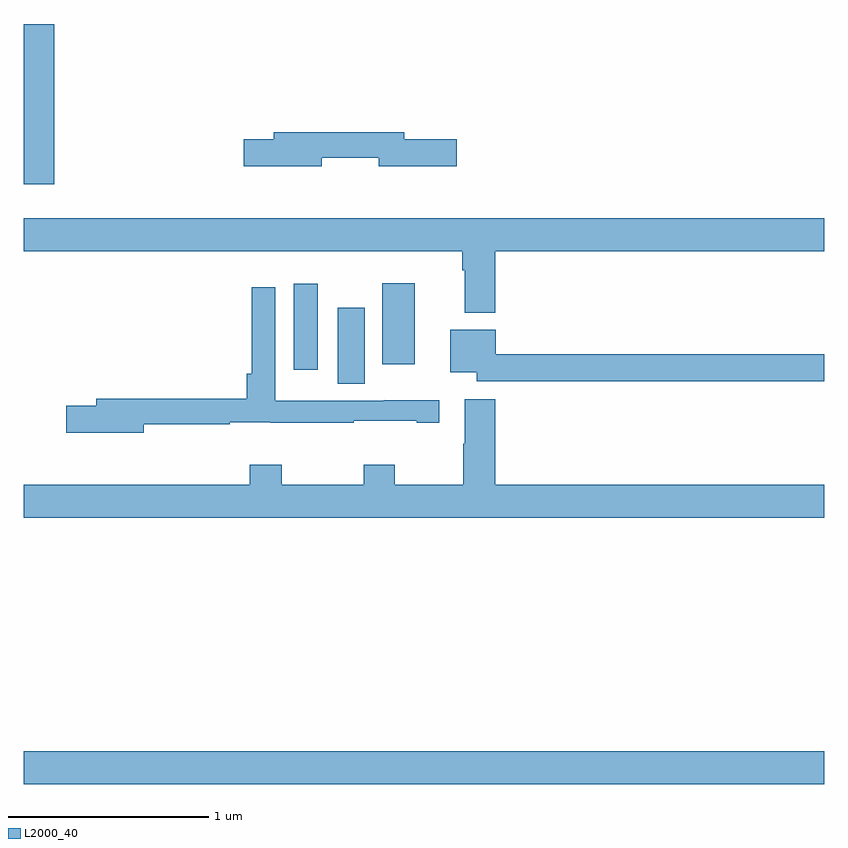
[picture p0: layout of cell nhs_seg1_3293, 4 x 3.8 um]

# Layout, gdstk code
import gdstk
lib = gdstk.Library(unit=1e-6, precision=1e-09)
def R(c, l, rs):  # rectangles x0, y0, x1, y1
    for r in rs: c.add(gdstk.rectangle(r[:2], r[2:], *l))
def P(c, l, *ps):  # polygons
    for p in ps: c.add(gdstk.Polygon(p, *l))
L2000_40 = (2000, 40)

nhs_seg1_3293 = lib.new_cell('nhs_seg1_3293')
R(nhs_seg1_3293, L2000_40, [(289,550.4,293,550.564), (290.57,552.4,290.704,552.781), (290.348,552.471,290.47,552.901), (290.792,552.498,290.953,552.904), (289,553.398,289.151,554.199)])
P(nhs_seg1_3293, L2000_40, [(290.488,553.53),(290.774,553.53),(290.774,553.487),(291.163,553.487),(291.163,553.622),(290.902,553.622),(290.902,553.658),(290.249,553.658),(290.249,553.622),(290.1,553.622),(290.1,553.487),(290.488,553.487)],
  [(291.356,553.064),(293,553.064),(293,553.228),(289,553.228),(289,553.064),(291.191,553.064),(291.191,552.968),(291.203,552.968),(291.203,552.755),(291.356,552.755)],
  [(289.6,552.198),(290.03,552.198),(290.03,552.209),(290.232,552.209),(290.232,552.207),(290.648,552.207),(290.648,552.217),(290.963,552.217),(290.963,552.207),(291.076,552.207),(291.076,552.317),(290.8,552.317),(290.8,552.315),(290.466,552.315),(290.466,552.316),(290.256,552.316),(290.256,552.883),(290.14,552.883),(290.14,552.451),(290.114,552.451),(290.114,552.326),(289.361,552.326),(289.361,552.29),(289.212,552.29),(289.212,552.155),(289.6,552.155)],
  [(293,552.548),(291.358,552.548),(291.358,552.67),(291.131,552.67),(291.131,552.458),(291.264,552.458),(291.264,552.412),(293,552.412)],
  [(293,551.896),(291.356,551.896),(291.356,552.322),(291.203,552.322),(291.203,552.101),(291.196,552.101),(291.196,551.896),(290.853,551.896),(290.853,551.995),(290.698,551.995),(290.698,551.896),(290.289,551.896),(290.289,551.995),(290.129,551.995),(290.129,551.896),(289,551.896),(289,551.732),(293,551.732)])

lib.write_gds('nhs_seg1_3293.gds')
